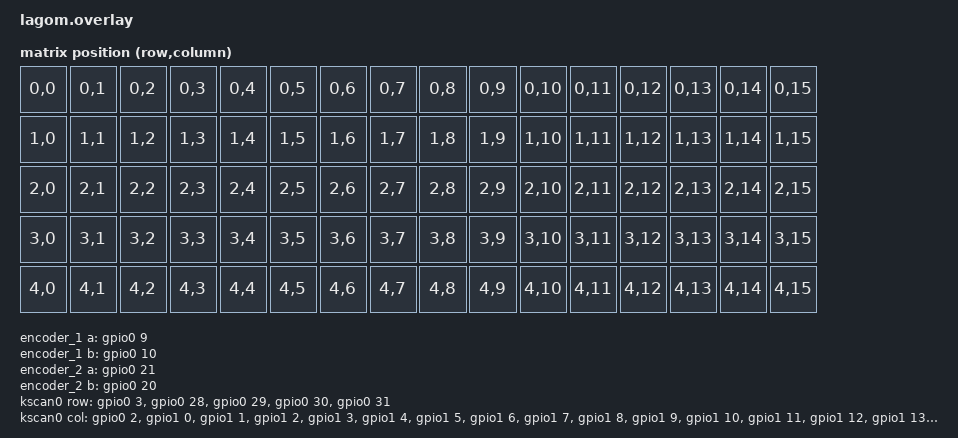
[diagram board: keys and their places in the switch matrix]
#include <dt-bindings/gpio/gpio.h>
#include <dt-bindings/zmk/matrix_transform.h>

/ {
    chosen {
        zephyr,display = &oled;
        zmk,kscan = &kscan0;
        zmk,matrix_transform = &default_transform;
        zmk,battery = &vbatt;
    };

    encoder_1: encoder_1 {
        compatible = "zmk,ec11-encoder";
        label = "Encoder 1";
        a-gpios = <&gpio0 9 (GPIO_PULL_UP | GPIO_ACTIVE_LOW)>;
        b-gpios = <&gpio0 10 (GPIO_PULL_UP | GPIO_ACTIVE_LOW)>;
        encoder-keycodes = <&kp VOL_UP>, <&kp VOL_DN>;
    };

    encoder_2: encoder_2 {
        compatible = "zmk,ec11-encoder";
        label = "Encoder 2";
        a-gpios = <&gpio0 21 (GPIO_PULL_UP | GPIO_ACTIVE_LOW)>;
        b-gpios = <&gpio0 20 (GPIO_PULL_UP | GPIO_ACTIVE_LOW)>;
        encoder-keycodes = <&kp C_NEXT>, <&kp C_PREV>;
    };

    kscan0: kscan0 {
        compatible = "zmk,kscan-gpio-matrix";

        row-gpios = <&gpio0 3  (GPIO_PULL_UP | GPIO_ACTIVE_LOW)>,
                    <&gpio0 28 (GPIO_PULL_UP | GPIO_ACTIVE_LOW)>,
                    <&gpio0 29 (GPIO_PULL_UP | GPIO_ACTIVE_LOW)>,
                    <&gpio0 30 (GPIO_PULL_UP | GPIO_ACTIVE_LOW)>,
                    <&gpio0 31 (GPIO_PULL_UP | GPIO_ACTIVE_LOW)>;

        col-gpios = <&gpio0 2  (GPIO_PULL_UP | GPIO_ACTIVE_LOW)>,
                    <&gpio1 0  (GPIO_PULL_UP | GPIO_ACTIVE_LOW)>,
                    <&gpio1 1  (GPIO_PULL_UP | GPIO_ACTIVE_LOW)>,
                    <&gpio1 2  (GPIO_PULL_UP | GPIO_ACTIVE_LOW)>,
                    <&gpio1 3  (GPIO_PULL_UP | GPIO_ACTIVE_LOW)>,
                    <&gpio1 4  (GPIO_PULL_UP | GPIO_ACTIVE_LOW)>,
                    <&gpio1 5  (GPIO_PULL_UP | GPIO_ACTIVE_LOW)>,
                    <&gpio1 6  (GPIO_PULL_UP | GPIO_ACTIVE_LOW)>,
                    <&gpio1 7  (GPIO_PULL_UP | GPIO_ACTIVE_LOW)>,
                    <&gpio1 8  (GPIO_PULL_UP | GPIO_ACTIVE_LOW)>,
                    <&gpio1 9  (GPIO_PULL_UP | GPIO_ACTIVE_LOW)>,
                    <&gpio1 10 (GPIO_PULL_UP | GPIO_ACTIVE_LOW)>,
                    <&gpio1 11 (GPIO_PULL_UP | GPIO_ACTIVE_LOW)>,
                    <&gpio1 12 (GPIO_PULL_UP | GPIO_ACTIVE_LOW)>,
                    <&gpio1 13 (GPIO_PULL_UP | GPIO_ACTIVE_LOW)>,
                    <&gpio1 14 (GPIO_PULL_UP | GPIO_ACTIVE_LOW)>; // Kolom ke-16

        diode-direction = <0>; // COL2ROW
    };

    default_transform: matrix_transform {
        compatible = "zmk,matrix-transform";
        rows = <5>;
        columns = <16>;
        map = <
            RC(0,0)  RC(0,1)  RC(0,2)  RC(0,3)  RC(0,4)  RC(0,5)  RC(0,6)  RC(0,7)  RC(0,8)  RC(0,9)  RC(0,10) RC(0,11) RC(0,12) RC(0,13) RC(0,14) RC(0,15)
            RC(1,0)  RC(1,1)  RC(1,2)  RC(1,3)  RC(1,4)  RC(1,5)  RC(1,6)  RC(1,7)  RC(1,8)  RC(1,9)  RC(1,10) RC(1,11) RC(1,12) RC(1,13) RC(1,14) RC(1,15)
            RC(2,0)  RC(2,1)  RC(2,2)  RC(2,3)  RC(2,4)  RC(2,5)  RC(2,6)  RC(2,7)  RC(2,8)  RC(2,9)  RC(2,10) RC(2,11) RC(2,12) RC(2,13) RC(2,14) RC(2,15)
            RC(3,0)  RC(3,1)  RC(3,2)  RC(3,3)  RC(3,4)  RC(3,5)  RC(3,6)  RC(3,7)  RC(3,8)  RC(3,9)  RC(3,10) RC(3,11) RC(3,12) RC(3,13) RC(3,14) RC(3,15)
            RC(4,0)  RC(4,1)  RC(4,2)  RC(4,3)  RC(4,4)  RC(4,5)  RC(4,6)  RC(4,7)  RC(4,8)  RC(4,9)  RC(4,10) RC(4,11) RC(4,12) RC(4,13) RC(4,14) RC(4,15)
        >;
    };

    sensors: sensors {
        compatible = "zmk,keymap-sensors";
        sensors = <&encoder_1 &encoder_2>;
        triggers-per-rotation = <20>;
    };
};

// I2C1 untuk OLED
&i2c1 {
    status = "okay";
    compatible = "nordic,nrf-twi";
    sda-pin = <26>;
    scl-pin = <27>;
    clock-frequency = <I2C_BITRATE_FAST>;

    oled: ssd1306@3c {
        compatible = "solomon,ssd1306fb";
        reg = <0x3c>;
        width = <128>;
        height = <64>;
        segment-offset = <0>;
        page-offset = <0>;
        display-offset = <0>;
        multiplex-ratio = <63>;
        prechargep = <0xF1>;
        com-invdir;
        com-sequential;
        contrast = <128>;
    };
};
